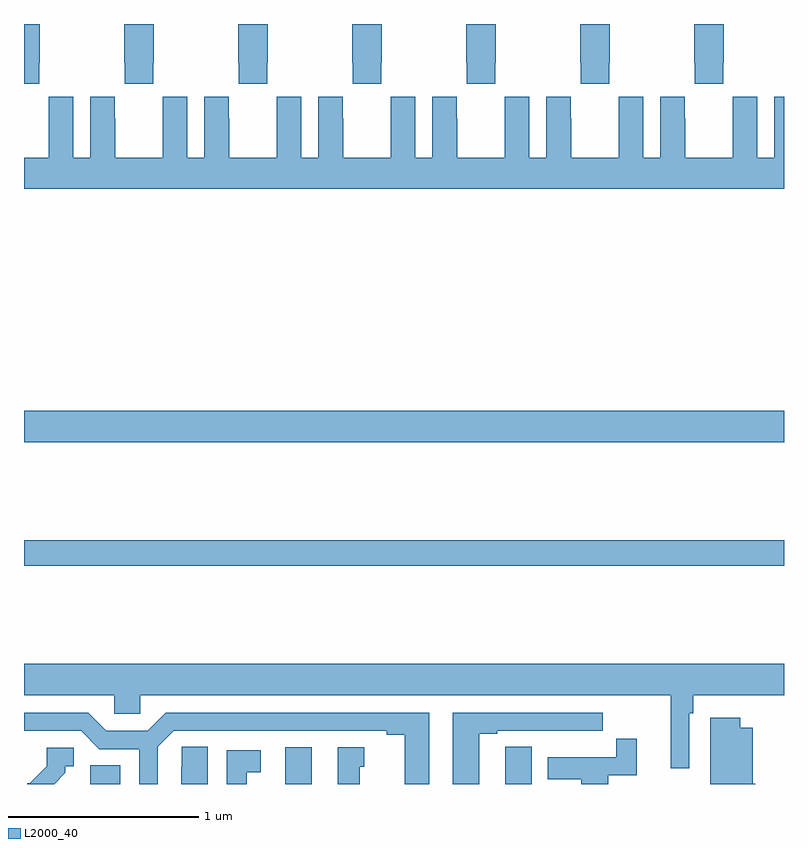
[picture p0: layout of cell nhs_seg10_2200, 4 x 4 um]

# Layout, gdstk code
import gdstk
lib = gdstk.Library(unit=1e-6, precision=1e-09)
def R(c, l, rs):  # rectangles x0, y0, x1, y1
    for r in rs: c.add(gdstk.rectangle(r[:2], r[2:], *l))
def P(c, l, *ps):  # polygons
    for p in ps: c.add(gdstk.Polygon(p, *l))
L2000_40 = (2000, 40)

nhs_seg10_2200 = lib.new_cell('nhs_seg10_2200')
R(nhs_seg10_2200, L2000_40, [(227.348,1314.5,227.506,1314.599), (228.374,1314.5,228.514,1314.694), (227,1315.648,231,1315.784), (227,1316.3,231,1316.464)])
P(nhs_seg10_2200, L2000_40, [(229.927,1318.297),(229.929,1318.297),(229.929,1318.185),(230.079,1318.185),(230.079,1318.297),(230.082,1318.297),(230.082,1318.5),(229.927,1318.5)],
  [(230.679,1318.297),(230.682,1318.297),(230.682,1318.5),(230.527,1318.5),(230.527,1318.297),(230.529,1318.297),(230.529,1318.185),(230.679,1318.185)],
  [(229.479,1318.297),(229.482,1318.297),(229.482,1318.5),(229.327,1318.5),(229.327,1318.297),(229.329,1318.297),(229.329,1318.185),(229.479,1318.185)],
  [(228.879,1318.297),(228.882,1318.297),(228.882,1318.5),(228.727,1318.5),(228.727,1318.297),(228.729,1318.297),(228.729,1318.185),(228.879,1318.185)],
  [(228.279,1318.297),(228.282,1318.297),(228.282,1318.5),(228.127,1318.5),(228.127,1318.297),(228.129,1318.297),(228.129,1318.185),(228.279,1318.185)],
  [(227.679,1318.297),(227.682,1318.297),(227.682,1318.5),(227.527,1318.5),(227.527,1318.297),(227.529,1318.297),(227.529,1318.185),(227.679,1318.185)],
  [(227.079,1318.297),(227.082,1318.297),(227.082,1318.5),(227,1318.5),(227,1318.185),(227.079,1318.185)],
  [(231,1318.117),(230.948,1318.117),(230.948,1317.796),(230.86,1317.796),(230.86,1318.117),(230.73,1318.117),(230.73,1318.004),(230.729,1318.004),(230.729,1317.796),(230.479,1317.796),(230.479,1318.004),(230.478,1318.004),(230.478,1318.117),(230.348,1318.117),(230.348,1317.796),(230.26,1317.796),(230.26,1318.117),(230.13,1318.117),(230.13,1318.004),(230.129,1318.004),(230.129,1317.796),(229.879,1317.796),(229.879,1318.004),(229.878,1318.004),(229.878,1318.117),(229.748,1318.117),(229.748,1317.796),(229.66,1317.796),(229.66,1318.117),(229.53,1318.117),(229.53,1318.004),(229.529,1318.004),(229.529,1317.796),(229.279,1317.796),(229.279,1318.004),(229.278,1318.004),(229.278,1318.117),(229.148,1318.117),(229.148,1317.796),(229.06,1317.796),(229.06,1318.117),(228.93,1318.117),(228.93,1318.004),(228.929,1318.004),(228.929,1317.796),(228.679,1317.796),(228.679,1318.004),(228.678,1318.004),(228.678,1318.117),(228.548,1318.117),(228.548,1317.796),(228.46,1317.796),(228.46,1318.117),(228.33,1318.117),(228.33,1318.004),(228.329,1318.004),(228.329,1317.796),(228.079,1317.796),(228.079,1318.004),(228.078,1318.004),(228.078,1318.117),(227.948,1318.117),(227.948,1317.796),(227.86,1317.796),(227.86,1318.117),(227.73,1318.117),(227.73,1318.004),(227.729,1318.004),(227.729,1317.796),(227.479,1317.796),(227.479,1318.004),(227.478,1318.004),(227.478,1318.117),(227.348,1318.117),(227.348,1317.796),(227.26,1317.796),(227.26,1318.117),(227.13,1318.117),(227.13,1318.004),(227.129,1318.004),(227.129,1317.796),(227,1317.796),(227,1317.632),(231,1317.632)],
  [(230.502,1314.872),(230.522,1314.872),(230.522,1314.968),(231,1314.968),(231,1315.132),(227,1315.132),(227,1314.968),(227.475,1314.968),(227.475,1314.87),(227.613,1314.87),(227.613,1314.968),(230.405,1314.968),(230.405,1314.582),(230.502,1314.582)],
  [(229.396,1314.765),(229.492,1314.765),(229.492,1314.78),(229.768,1314.78),(229.768,1314.779),(229.934,1314.779),(229.934,1314.78),(230.047,1314.78),(230.047,1314.876),(229.256,1314.876),(229.256,1314.5),(229.396,1314.5)],
  [(227.703,1314.696),(227.787,1314.78),(228.908,1314.78),(228.908,1314.76),(229.004,1314.76),(229.004,1314.5),(229.132,1314.5),(229.132,1314.876),(227.747,1314.876),(227.651,1314.78),(227.433,1314.78),(227.337,1314.876),(227,1314.876),(227,1314.78),(227.301,1314.78),(227.397,1314.684),(227.607,1314.684),(227.607,1314.5),(227.703,1314.5)],
  [(230.848,1314.501),(230.836,1314.501),(230.836,1314.796),(230.77,1314.796),(230.77,1314.85),(230.612,1314.85),(230.612,1314.5),(230.848,1314.5)],
  [(230.074,1314.546),(230.225,1314.546),(230.225,1314.739),(230.116,1314.739),(230.116,1314.642),(229.757,1314.642),(229.757,1314.526),(229.934,1314.526),(229.934,1314.5),(230.074,1314.5)],
  [(229.672,1314.695),(229.533,1314.695),(229.533,1314.587),(229.532,1314.587),(229.532,1314.5),(229.672,1314.5)],
  [(227.968,1314.695),(227.829,1314.695),(227.829,1314.587),(227.828,1314.587),(227.828,1314.5),(227.968,1314.5)],
  [(228.766,1314.591),(228.79,1314.591),(228.79,1314.694),(228.65,1314.694),(228.65,1314.5),(228.766,1314.5)],
  [(227.218,1314.559),(227.218,1314.594),(227.263,1314.594),(227.263,1314.69),(227.121,1314.69),(227.121,1314.594),(227.031,1314.504),(227.016,1314.504),(227.016,1314.5),(227.159,1314.5)],
  [(228.172,1314.562),(228.247,1314.562),(228.247,1314.678),(228.068,1314.678),(228.068,1314.5),(228.172,1314.5)])

lib.write_gds('nhs_seg10_2200.gds')
